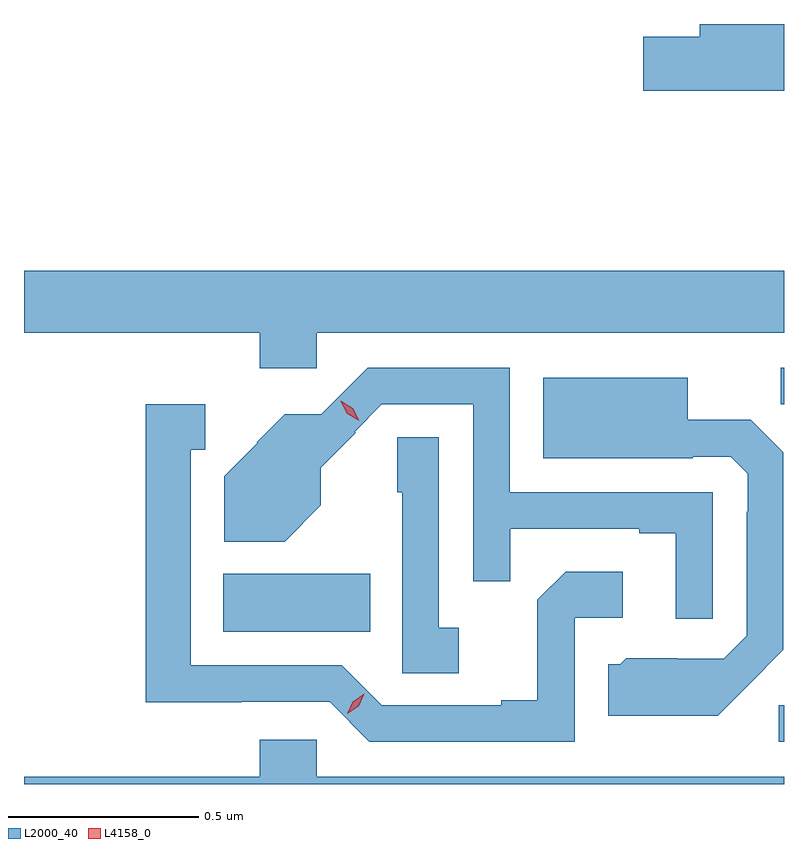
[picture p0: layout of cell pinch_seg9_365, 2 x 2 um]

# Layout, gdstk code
import gdstk
lib = gdstk.Library(unit=1e-6, precision=1e-09)
def R(c, l, rs):  # rectangles x0, y0, x1, y1
    for r in rs: c.add(gdstk.rectangle(r[:2], r[2:], *l))
def P(c, l, *ps):  # polygons
    for p in ps: c.add(gdstk.Polygon(p, *l))
L2000_40 = (2000, 40)
L4158_0 = (4158, 0)

pinch_seg9_365 = lib.new_cell('pinch_seg9_365')
R(pinch_seg9_365, L2000_40, [(555.303,1179.36,555.317,1179.456), (553.841,1179.65,554.228,1179.802), (555.309,1180.249,555.317,1180.344)])
P(pinch_seg9_365, L2000_40, [(555.317,1181.249),(555.095,1181.249),(555.095,1181.216),(554.946,1181.216),(554.946,1181.074),(555.317,1181.074)],
  [(554.088,1180.436),(555.317,1180.436),(555.317,1180.6),(553.317,1180.6),(553.317,1180.436),(553.937,1180.436),(553.937,1180.343),(554.088,1180.343)],
  [(555.129,1180.017),(554.595,1180.017),(554.595,1180.344),(554.222,1180.344),(554.099,1180.222),(554.003,1180.222),(553.93,1180.148),(553.932,1180.147),(553.844,1180.059),(553.844,1179.887),(554.003,1179.887),(554.098,1179.982),(554.098,1180.081),(554.19,1180.174),(554.187,1180.176),(554.259,1180.248),(554.499,1180.248),(554.499,1179.782),(554.597,1179.782),(554.597,1179.921),(554.936,1179.921),(554.936,1179.909),(555.032,1179.909),(555.032,1179.684),(555.129,1179.684)],
  [(555.223,1179.509),(555.315,1179.602),(555.315,1180.122),(555.229,1180.208),(555.064,1180.208),(555.064,1180.318),(554.684,1180.318),(554.684,1180.106),(555.077,1180.106),(555.077,1180.11),(555.177,1180.11),(555.222,1180.065),(555.222,1179.965),(555.219,1179.965),(555.219,1179.639),(555.159,1179.579),(555.036,1179.579),(555.036,1179.58),(554.902,1179.58),(554.886,1179.564),(554.855,1179.564),(554.855,1179.428),(555.143,1179.428)],
  [(554.766,1179.687),(554.893,1179.687),(554.893,1179.808),(554.742,1179.808),(554.667,1179.734),(554.667,1179.469),(554.573,1179.469),(554.573,1179.456),(554.258,1179.456),(554.153,1179.561),(553.756,1179.561),(553.756,1180.128),(553.794,1180.128),(553.794,1180.249),(553.638,1180.249),(553.638,1179.464),(553.889,1179.464),(553.889,1179.465),(554.121,1179.465),(554.226,1179.36),(554.766,1179.36)],
  [(554.461,1179.66),(554.409,1179.66),(554.409,1180.162),(554.299,1180.162),(554.299,1180.017),(554.313,1180.017),(554.313,1179.541),(554.461,1179.541)],
  [(555.317,1179.268),(554.088,1179.268),(554.088,1179.366),(553.937,1179.366),(553.937,1179.268),(553.317,1179.268),(553.317,1179.249),(555.317,1179.249)])
P(pinch_seg9_365, L4158_0, [(554.168,1179.434),(554.168,1179.434),(554.182,1179.466),(554.212,1179.486),(554.212,1179.486),(554.212,1179.486),(554.198,1179.453),(554.168,1179.434)],
  [(554.199,1180.205),(554.168,1180.224),(554.151,1180.256),(554.151,1180.257),(554.151,1180.257),(554.182,1180.238),(554.199,1180.205),(554.199,1180.205)])

lib.write_gds('pinch_seg9_365.gds')
